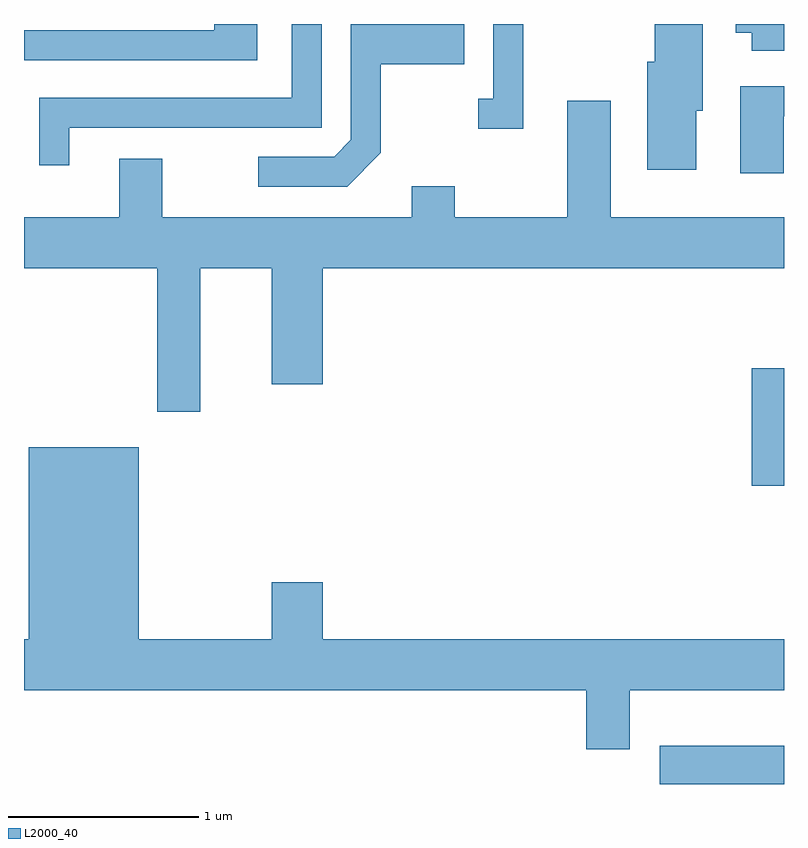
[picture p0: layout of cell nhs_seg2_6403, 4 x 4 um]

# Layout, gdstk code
import gdstk
lib = gdstk.Library(unit=1e-6, precision=1e-09)
def R(c, l, rs):  # rectangles x0, y0, x1, y1
    for r in rs: c.add(gdstk.rectangle(r[:2], r[2:], *l))
def P(c, l, *ps):  # polygons
    for p in ps: c.add(gdstk.Polygon(p, *l))
L2000_40 = (2000, 40)

nhs_seg2_6403 = lib.new_cell('nhs_seg2_6403')
R(nhs_seg2_6403, L2000_40, [(376.956,1067.802,377.611,1068.004), (377.441,1069.371,377.611,1069.989)])
P(nhs_seg2_6403, L2000_40, [(373.849,1071.256),(375.179,1071.256),(375.179,1071.802),(375.021,1071.802),(375.021,1071.414),(373.691,1071.414),(373.691,1071.058),(373.849,1071.058)],
  [(374.839,1071.802),(374.611,1071.802),(374.611,1071.769),(373.611,1071.769),(373.611,1071.611),(374.839,1071.611)],
  [(375.489,1071.124),(375.489,1071.591),(375.929,1071.591),(375.929,1071.802),(375.331,1071.802),(375.331,1071.192),(375.244,1071.104),(374.843,1071.104),(374.843,1070.946),(375.312,1070.946)],
  [(377.611,1071.802),(377.356,1071.802),(377.356,1071.756),(377.441,1071.756),(377.441,1071.661),(377.611,1071.661)],
  [(376.239,1071.802),(376.081,1071.802),(376.081,1071.409),(376.003,1071.409),(376.003,1071.251),(376.239,1071.251)],
  [(377.149,1071.346),(377.184,1071.346),(377.184,1071.802),(376.931,1071.802),(376.931,1071.604),(376.891,1071.604),(376.891,1071.036),(377.149,1071.036)],
  [(377.609,1071.316),(377.611,1071.316),(377.611,1071.474),(377.381,1071.474),(377.381,1071.016),(377.609,1071.016)],
  [(374.539,1070.516),(374.916,1070.516),(374.916,1069.906),(375.184,1069.906),(375.184,1070.516),(377.611,1070.516),(377.611,1070.784),(376.699,1070.784),(376.699,1071.399),(376.471,1071.399),(376.471,1070.784),(375.879,1070.784),(375.879,1070.949),(375.651,1070.949),(375.651,1070.784),(374.339,1070.784),(374.339,1071.094),(374.111,1071.094),(374.111,1070.784),(373.611,1070.784),(373.611,1070.516),(374.311,1070.516),(374.311,1069.761),(374.539,1069.761)],
  [(375.184,1068.864),(374.916,1068.864),(374.916,1068.564),(374.214,1068.564),(374.214,1069.574),(373.636,1069.574),(373.636,1068.564),(373.611,1068.564),(373.611,1068.296),(376.571,1068.296),(376.571,1067.986),(376.799,1067.986),(376.799,1068.296),(377.611,1068.296),(377.611,1068.564),(375.184,1068.564)])

lib.write_gds('nhs_seg2_6403.gds')
